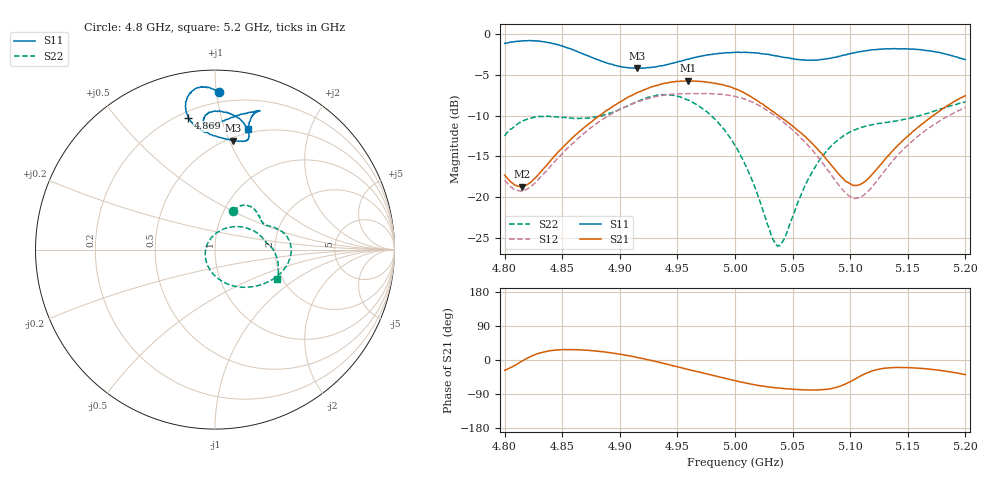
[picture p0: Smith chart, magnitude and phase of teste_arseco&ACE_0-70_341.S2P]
! Network Analyzer HP8722D
! Hewlett-Packard
! Data name: Linha & Wilkinson
! Saver's name: Rodrigo Anjos
! Comments: Teste da utilização de aquisição
! continua pelo VNA HP8722D
! Time and date: 8/5/2025 15:36
!  Frequency  S11  S21  S12  S22
# HZ  S  MA R 50
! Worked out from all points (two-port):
!   401 points, 4.8 GHz to 5.2 GHz, reference 50 ohm
!   highest |S21| = -5.74 dB at 4.959 GHz (marker M1); lowest = -18.7 dB at 4.815 GHz (marker M2)
!   |S21| within 3 dB of the highest: 4.895 GHz to 5.025 GHz (129.9 MHz wide, 2.62 % of centre); 5.185153 GHz to end of sweep
!   lowest |S11| = -4.2 dB at 4.915 GHz (marker M3), VSWR 4.21, Z = 26.3 + j51.5 ohm
!   |S11| at or under -10 dB: nowhere
!   |S22| runs from -26.0 to -7.4 dB; largest |S21 - S12| = 0.89
!   S11 on the Smith chart (normalised r, x): 4.8 GHz: 0.14, +1.02; 4.869 GHz: 0.24, +0.79; 5.2 GHz: 0.46, +1.20
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4.8e9  0.8756 88.6  0.1366 -27.1  0.1275 100.2  0.2373 64.4
4.815e9  0.9037 93.0  0.1161 -3.2  0.1092 121.2  0.2916 58.0
4.843e9  0.8701 99.8  0.1781 25.7  0.164 149.4  0.3116 41.0
4.867e9  0.7596 101.5  0.2598 26.4  0.2397 153.6  0.3044 30.5
4.869e9  0.7491 101.5  0.2669 26.2  0.2469 153.4  0.3044 29.8
4.894e9  0.6478 93.2  0.3602 18.2  0.3286 148.3  0.3321 23.1
4.915e9  0.6158 80.7  0.4352 6.7  0.3823 140.0  0.3849 15.4
4.934e9  0.6357 73.8  0.4871 -6.1  0.418 129.5  0.4214 3.2
4.959e9  0.7002 75.2  0.5167 -24.7  0.4312 113.9  0.3942 -17.8
4.981e9  0.7498 81.1  0.5007 -40.9  0.429 99.7  0.3078 -41.1
5e9  0.7701 87.4  0.4616 -54.7  0.4153 86.6  0.2073 -68.7
5.019e9  0.764 92.3  0.3918 -66.7  0.3703 73.6  0.1066 -109.3
5.033e9  0.7392 94.7  0.3352 -72.5  0.3219 65.8  0.05505 -166.6
5.037e9  0.7295 94.9  0.3198 -73.9  0.3073 64.2  0.05026 167.5
5.044e9  0.7173 95.2  0.2948 -75.7  0.281 61.5  0.05834 124.4
5.067e9  0.6909 93.0  0.2142 -79.1  0.1948 57.8  0.1429 59.1
5.083e9  0.7094 87.9  0.1592 -75.9  0.1393 62.9  0.2041 37.3
5.104e9  0.7684 79.2  0.1185 -50.5  0.09837 92.1  0.2587 19.0
5.116e9  0.7931 75.0  0.1309 -32.5  0.1097 112.4  0.2754 12.8
5.134e9  0.8097 72.4  0.1825 -20.4  0.1577 125.8  0.2897 7.4
5.17e9  0.7855 74.1  0.309 -24.6  0.2708 120.7  0.3321 -2.2
5.2e9  0.696 74.7  0.4177 -38.6  0.3553 109.2  0.383 -25.4
